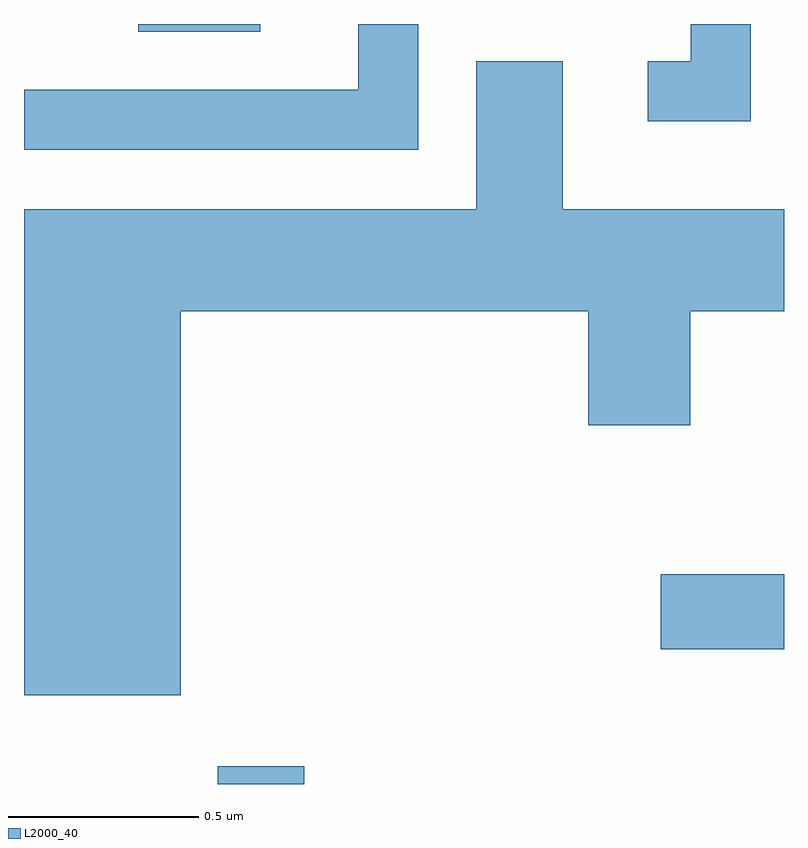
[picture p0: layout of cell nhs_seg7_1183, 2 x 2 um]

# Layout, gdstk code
import gdstk
lib = gdstk.Library(unit=1e-6, precision=1e-09)
def R(c, l, rs):  # rectangles x0, y0, x1, y1
    for r in rs: c.add(gdstk.rectangle(r[:2], r[2:], *l))
def P(c, l, *ps):  # polygons
    for p in ps: c.add(gdstk.Polygon(p, *l))
L2000_40 = (2000, 40)

nhs_seg7_1183 = lib.new_cell('nhs_seg7_1183')
R(nhs_seg7_1183, L2000_40, [(194.121,1755.252,194.349,1755.299), (195.286,1755.606,195.611,1755.804), (193.911,1757.231,194.233,1757.252)])
P(nhs_seg7_1183, L2000_40, [(195.524,1757.252),(195.366,1757.252),(195.366,1757.154),(195.253,1757.154),(195.253,1756.996),(195.524,1756.996)],
  [(194.649,1757.252),(194.491,1757.252),(194.491,1757.079),(193.611,1757.079),(193.611,1756.921),(194.649,1756.921)],
  [(194.024,1756.496),(195.096,1756.496),(195.096,1756.196),(195.364,1756.196),(195.364,1756.496),(195.611,1756.496),(195.611,1756.764),(195.029,1756.764),(195.029,1757.154),(194.801,1757.154),(194.801,1756.764),(193.611,1756.764),(193.611,1755.486),(194.024,1755.486)])

lib.write_gds('nhs_seg7_1183.gds')
